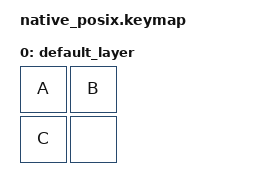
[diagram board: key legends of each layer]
#include <dt-bindings/zmk/keys.h>
#include <behaviors.dtsi>
#include <dt-bindings/zmk/kscan-mock.h>

/* 
    combo 01 timeout 100
    combo 0123 timeout 100
    press 012, wait until timeout runs out
    expected: combo 01 after 100ms, immediately followed by key 2.
 */
/ {
	behaviors {
		combo_two {
			compatible = "zmk,behavior-combo";
			label = "COMBO_TWO";
			timeout-ms = <100>;
			key-positions = <0 1>;
			bindings = <&kp Y>;
		};


		combo_four {
			compatible = "zmk,behavior-combo";
			label = "COMBO_four";
			timeout-ms = <100>;
			key-positions = <0 1 2 3>;
			bindings = <&kp W>;
		};

	};

	keymap {
		compatible = "zmk,keymap";
		label ="Default keymap";

		default_layer {
			bindings = <
				&kp A &kp B
				&kp C &none
			>;
		};
	};
};

&kscan {
	events = <
		/* if you're debugging these, remember that the timer can be triggered between 
		  events while stepping through code. */
		ZMK_MOCK_PRESS(0,0,10) 
		ZMK_MOCK_PRESS(0,1,10) 
		ZMK_MOCK_PRESS(0,2,100) 
		ZMK_MOCK_RELEASE(0,0,10) 
		ZMK_MOCK_RELEASE(0,1,10) 
		ZMK_MOCK_RELEASE(0,2,100)
	>;
};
